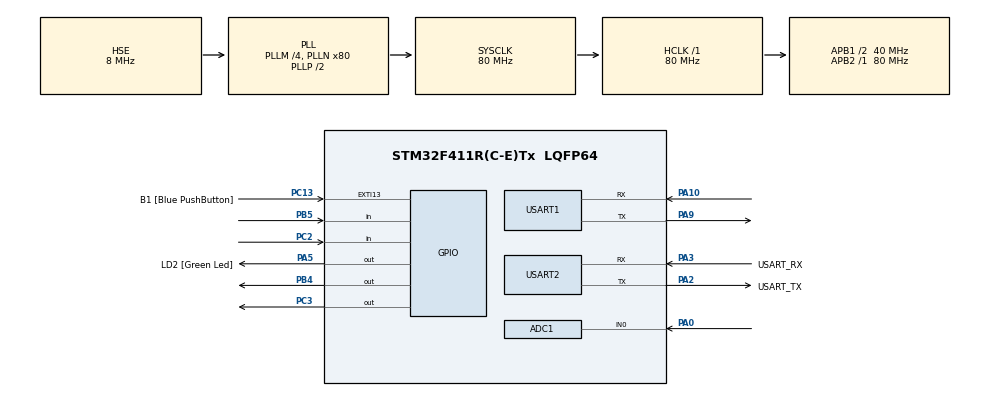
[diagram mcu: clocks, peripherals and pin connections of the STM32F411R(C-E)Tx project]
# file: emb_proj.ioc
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ADC1.Channel-0\#ChannelRegularConversion=ADC_CHANNEL_0
ADC1.NbrOfConversionFlag=1
ADC1.Rank-0\#ChannelRegularConversion=1
ADC1.SamplingTime-0\#ChannelRegularConversion=ADC_SAMPLETIME_3CYCLES
ADC1.master=1
Mcu.Family=STM32F4
Mcu.Name=STM32F411R(C-E)Tx
Mcu.Package=LQFP64
NVIC.PriorityGroup=NVIC_PRIORITYGROUP_2
NVIC.TIM3_IRQn=true\:0\:0\:false\:false\:true\:true\:true\:true
NVIC.TIM4_IRQn=true\:0\:0\:false\:false\:true\:true\:true\:true
NVIC.USART1_IRQn=true\:2\:0\:true\:false\:true\:true\:true\:true
NVIC.USART2_IRQn=true\:2\:0\:true\:false\:true\:true\:true\:true
PA0-WKUP.Signal=ADCx_IN0
PA10.Mode=Asynchronous
PA10.Signal=USART1_RX
PA13.GPIO_Label=TMS
PA13.Mode=Serial_Wire
PA13.Signal=SYS_JTMS-SWDIO
PA14.GPIO_Label=TCK
PA14.Mode=Serial_Wire
PA14.Signal=SYS_JTCK-SWCLK
PA2.GPIO_Label=USART_TX
PA2.Mode=Asynchronous
PA2.Signal=USART2_TX
PA3.GPIO_Label=USART_RX
PA3.Mode=Asynchronous
PA3.Signal=USART2_RX
PA5.GPIO_Label=LD2 [Green Led]
PA5.Signal=GPIO_Output
PA9.Mode=Asynchronous
PA9.Signal=USART1_TX
PB3.GPIO_Label=SWO
PB3.Signal=SYS_JTDO-SWO
PB4.GPIO_ModeDefaultOutputPP=GPIO_MODE_OUTPUT_OD
PB4.GPIO_PuPd=GPIO_NOPULL
PB4.GPIO_Speed=GPIO_SPEED_FREQ_HIGH
PB4.PinState=GPIO_PIN_SET
PB4.Signal=GPIO_Output
PB5.Signal=GPIO_Input
PC13-ANTI_TAMP.GPIO_Label=B1 [Blue PushButton]
PC13-ANTI_TAMP.GPIO_ModeDefaultEXTI=GPIO_MODE_IT_FALLING
PC13-ANTI_TAMP.Signal=GPXTI13
PC14-OSC32_IN.Mode=LSE-External-Oscillator
PC14-OSC32_IN.Signal=RCC_OSC32_IN
PC15-OSC32_OUT.Mode=LSE-External-Oscillator
PC15-OSC32_OUT.Signal=RCC_OSC32_OUT
PC2.Signal=GPIO_Input
PC3.GPIO_Speed=GPIO_SPEED_FREQ_HIGH
PC3.PinState=GPIO_PIN_RESET
PC3.Signal=GPIO_Output
PH0\ -\ OSC_IN.Mode=HSE-External-Clock-Source
PH0\ -\ OSC_IN.Signal=RCC_OSC_IN
PH1\ -\ OSC_OUT.Mode=HSE-External-Clock-Source
PH1\ -\ OSC_OUT.Signal=RCC_OSC_OUT
ProjectManager.HeapSize=0x200
ProjectManager.StackSize=0x400
ProjectManager.TargetToolchain=STM32CubeIDE
RCC.48MHZClocksFreq_Value=40000000
RCC.AHBFreq_Value=80000000
RCC.APB1CLKDivider=RCC_HCLK_DIV2
RCC.APB1Freq_Value=40000000
RCC.APB1TimFreq_Value=80000000
RCC.APB2Freq_Value=80000000
RCC.APB2TimFreq_Value=80000000
RCC.CortexFreq_Value=80000000
RCC.FLatency-AdvancedSettings=FLASH_LATENCY_2
RCC.HCLKFreq_Value=80000000
RCC.HSE_VALUE=8000000
RCC.HSI_VALUE=16000000
RCC.PLLM=4
RCC.PLLN=80
RCC.PLLSourceVirtual=RCC_PLLSOURCE_HSE
RCC.SYSCLKFreq_VALUE=80000000
RCC.SYSCLKSource=RCC_SYSCLKSOURCE_PLLCLK
RCC.VCOOutputFreq_Value=160000000
SH.ADCx_IN0.0=ADC1_IN0,IN0
TIM1.AutoReloadPreload=TIM_AUTORELOAD_PRELOAD_ENABLE
TIM1.Prescaler=80-1
TIM2.AutoReloadPreload=TIM_AUTORELOAD_PRELOAD_ENABLE
TIM2.Prescaler=80-1
TIM3.AutoReloadPreload=TIM_AUTORELOAD_PRELOAD_ENABLE
TIM3.Period=30000-1
TIM3.Prescaler=8000-1
TIM4.AutoReloadPreload=TIM_AUTORELOAD_PRELOAD_ENABLE
TIM4.Period=10000-1
TIM4.Prescaler=8000-1
USART1.VirtualMode=VM_ASYNC
USART2.VirtualMode=VM_ASYNC
VP_TIM1_VS_ClockSourceINT.Mode=Internal
VP_TIM2_VS_ClockSourceINT.Mode=Internal
VP_TIM3_VS_ClockSourceINT.Mode=Internal
VP_TIM4_VS_ClockSourceINT.Mode=Internal
board=NUCLEO-F411RE

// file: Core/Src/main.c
/* USER CODE BEGIN Header */
/**
  ******************************************************************************
  * @file           : main.c
  * @brief          : Main program body
  ******************************************************************************
  * @attention
  *
  * Copyright (c) 2023 STMicroelectronics.
  * All rights reserved.
  *
  * This software is licensed under terms that can be found in the LICENSE file
  * in the root directory of this software component.
  * If no LICENSE file comes with this software, it is provided AS-IS.
  *
  ******************************************************************************
  */
/* USER CODE END Header */
#include "main.h"

ADC_HandleTypeDef hadc1;

TIM_HandleTypeDef htim1;
TIM_HandleTypeDef htim2;
TIM_HandleTypeDef htim3;
TIM_HandleTypeDef htim4;

UART_HandleTypeDef huart1;
UART_HandleTypeDef huart2;

void SystemClock_Config(void);
static void MX_GPIO_Init(void);
static void MX_USART2_UART_Init(void);
static void MX_ADC1_Init(void);
static void MX_TIM2_Init(void);
static void MX_TIM3_Init(void);
static void MX_TIM4_Init(void);
static void MX_USART1_UART_Init(void);
static void MX_TIM1_Init(void);

/* USER CODE BEGIN 0 */
uint8_t distance_cm = 0;
uint8_t distance_cm_fp = 0;
uint8_t temperature = 0;
uint8_t temperature_fp = 0;
uint8_t relative_humidity = 0;
uint8_t relative_humidity_fp = 0;
uint8_t light_intensity_percent = 0;
uint8_t light_intensity_percent_fp = 0;

uint16_t min_light = 100;
uint16_t max_light = 2500;

uint8_t max_depth = 10;

char x[100];
char y = '0';
char comm;

void delay_us (uint32_t us)
{
	//__HAL_TIM_SET_COUNTER(&htim2,0);
	uint32_t start = __HAL_TIM_GET_COUNTER(&htim2);
	while (__HAL_TIM_GET_COUNTER(&htim2) < start+us);
}

void read_ldr(){
	HAL_ADC_Start(&hadc1);
	if(HAL_ADC_PollForConversion(&hadc1,1000) == HAL_OK){
		uint16_t value = HAL_ADC_GetValue(&hadc1);
		if(value < min_light){
			value = min_light;
		}else if(value > max_light){
			value = max_light;
		}
		float temp = ((1.0)*value-min_light)/(max_light-min_light)*100;
		light_intensity_percent = temp;
		light_intensity_percent_fp = ((int)(temp*100))%100;
	}
}

void read_dht11(){
	HAL_GPIO_WritePin(GPIOB, GPIO_PIN_4, 0);
	delay_us(18000);
	HAL_GPIO_WritePin(GPIOB, GPIO_PIN_4, 1);

	delay_us(40);
	if(!(HAL_GPIO_ReadPin(GPIOB, GPIO_PIN_5))){
		delay_us(80);
		if (!(HAL_GPIO_ReadPin(GPIOB, GPIO_PIN_5))) return;
	}
	while((HAL_GPIO_ReadPin(GPIOB, GPIO_PIN_5)));

	uint8_t dht[5];
	for(uint8_t k=0;k<5;k++){
		uint8_t i,j;
		for (j=0;j<8;j++){
			while(!(HAL_GPIO_ReadPin(GPIOB, GPIO_PIN_5)));
			delay_us(40);
			if (!(HAL_GPIO_ReadPin(GPIOB, GPIO_PIN_5))){
				i&= ~(1<<(7-j));
			}else i|= (1<<(7-j));
			while ((HAL_GPIO_ReadPin(GPIOB, GPIO_PIN_5)));
		}
		dht[k] = i;
	}
	temperature = dht[2];
	temperature_fp = dht[3];
	relative_humidity = dht[0];
	relative_humidity_fp = dht[1];
}

void read_distance(){
	HAL_GPIO_WritePin(GPIOC, GPIO_PIN_3, 1);
	delay_us(40);
	HAL_GPIO_WritePin(GPIOC, GPIO_PIN_3, 0);

	while(!(HAL_GPIO_ReadPin(GPIOC, GPIO_PIN_2)));
	__HAL_TIM_SET_COUNTER(&htim1,0);
	while((HAL_GPIO_ReadPin(GPIOC, GPIO_PIN_2)));
	uint16_t echo_time = __HAL_TIM_GET_COUNTER(&htim1);
	float temp = 1.0*echo_time/58;
	if(temp > max_depth){
		temp = max_depth - 0.01;
	}
	temp = max_depth - temp;
	distance_cm = temp;
	distance_cm_fp = ((int)(temp*100))%100;
}

void HAL_TIM_PeriodElapsedCallback(TIM_HandleTypeDef *htim){
	if( htim->Instance == TIM3){
		read_dht11();
		y = 'a';
	}
	if( htim->Instance == TIM4){
		read_distance();
		read_ldr();
		y = 'y';
	}
	//HAL_UART_Transmit(&huart2,&y,1,10);
}

void HAL_UART_RxCpltCallback(UART_HandleTypeDef *huart){
	HAL_GPIO_TogglePin(GPIOA,GPIO_PIN_5);
	uint8_t data[8];
	data[0] = distance_cm;
	data[1] = distance_cm_fp;
	data[2] = temperature;
	data[3] = temperature_fp;
	data[4] = relative_humidity;
	data[5] = relative_humidity_fp;
	data[6] = light_intensity_percent;
	data[7] = light_intensity_percent_fp;
	HAL_UART_Transmit(huart,&data,8,100);
	HAL_UART_Receive_IT(huart,&comm,1);
}
/* USER CODE END 0 */

int main(void)
{

  /* MCU Configuration--------------------------------------------------------*/

  /* Reset of all peripherals, Initializes the Flash interface and the Systick. */
  HAL_Init();

  /* Configure the system clock */
  SystemClock_Config();

  /* Initialize all configured peripherals */
  MX_GPIO_Init();
  MX_USART2_UART_Init();
  MX_ADC1_Init();
  MX_TIM2_Init();
  MX_TIM3_Init();
  MX_TIM4_Init();
  MX_USART1_UART_Init();
  MX_TIM1_Init();
  /* USER CODE BEGIN 2 */
  HAL_TIM_Base_Start(&htim1);
  HAL_TIM_Base_Start(&htim2);
  HAL_TIM_Base_Start_IT(&htim4);
  HAL_TIM_Base_Start_IT(&htim3);
  HAL_UART_Receive_IT(&huart1,&comm,1);
  HAL_UART_Receive_IT(&huart2,&comm,1);
  /* USER CODE END 2 */

  /* Infinite loop */
  while (1)
  {

    /* USER CODE BEGIN 3 */
//	HAL_GPIO_TogglePin(GPIOA,GPIO_PIN_5);
//	delay_us(2000000);
//	sprintf(&x,":%d,%d",temperature,relative_humidity);
//	HAL_UART_Transmit(&huart2,&x,strlen(x),100);
//	sprintf(&x,",%d,%d\r\n",light_intensity_percent,distance_cm);
//	HAL_UART_Transmit(&huart2,&x,strlen(x),100);
  }
  /* USER CODE END 3 */
}

void SystemClock_Config(void)
{
  RCC_OscInitTypeDef RCC_OscInitStruct = {0};
  RCC_ClkInitTypeDef RCC_ClkInitStruct = {0};

  /** Configure the main internal regulator output voltage
  */
  __HAL_RCC_PWR_CLK_ENABLE();
  __HAL_PWR_VOLTAGESCALING_CONFIG(PWR_REGULATOR_VOLTAGE_SCALE1);

  /** Initializes the RCC Oscillators according to the specified parameters
  * in the RCC_OscInitTypeDef structure.
  */
  RCC_OscInitStruct.OscillatorType = RCC_OSCILLATORTYPE_HSE;
  RCC_OscInitStruct.HSEState = RCC_HSE_BYPASS;
  RCC_OscInitStruct.PLL.PLLState = RCC_PLL_ON;
  RCC_OscInitStruct.PLL.PLLSource = RCC_PLLSOURCE_HSE;
  RCC_OscInitStruct.PLL.PLLM = 4;
  RCC_OscInitStruct.PLL.PLLN = 80;
  RCC_OscInitStruct.PLL.PLLP = RCC_PLLP_DIV2;
  RCC_OscInitStruct.PLL.PLLQ = 4;
  if (HAL_RCC_OscConfig(&RCC_OscInitStruct) != HAL_OK)
  {
    Error_Handler();
  }

  /** Initializes the CPU, AHB and APB buses clocks
  */
  RCC_ClkInitStruct.ClockType = RCC_CLOCKTYPE_HCLK|RCC_CLOCKTYPE_SYSCLK
                              |RCC_CLOCKTYPE_PCLK1|RCC_CLOCKTYPE_PCLK2;
  RCC_ClkInitStruct.SYSCLKSource = RCC_SYSCLKSOURCE_PLLCLK;
  RCC_ClkInitStruct.AHBCLKDivider = RCC_SYSCLK_DIV1;
  RCC_ClkInitStruct.APB1CLKDivider = RCC_HCLK_DIV2;
  RCC_ClkInitStruct.APB2CLKDivider = RCC_HCLK_DIV1;

  if (HAL_RCC_ClockConfig(&RCC_ClkInitStruct, FLASH_LATENCY_2) != HAL_OK)
  {
    Error_Handler();
  }
}

static void MX_ADC1_Init(void)
{

  ADC_ChannelConfTypeDef sConfig = {0};

  /** Configure the global features of the ADC (Clock, Resolution, Data Alignment and number of conversion)
  */
  hadc1.Instance = ADC1;
  hadc1.Init.ClockPrescaler = ADC_CLOCK_SYNC_PCLK_DIV4;
  hadc1.Init.Resolution = ADC_RESOLUTION_12B;
  hadc1.Init.ScanConvMode = DISABLE;
  hadc1.Init.ContinuousConvMode = DISABLE;
  hadc1.Init.DiscontinuousConvMode = DISABLE;
  hadc1.Init.ExternalTrigConvEdge = ADC_EXTERNALTRIGCONVEDGE_NONE;
  hadc1.Init.ExternalTrigConv = ADC_SOFTWARE_START;
  hadc1.Init.DataAlign = ADC_DATAALIGN_RIGHT;
  hadc1.Init.NbrOfConversion = 1;
  hadc1.Init.DMAContinuousRequests = DISABLE;
  hadc1.Init.EOCSelection = ADC_EOC_SINGLE_CONV;
  if (HAL_ADC_Init(&hadc1) != HAL_OK)
  {
    Error_Handler();
  }

  /** Configure for the selected ADC regular channel its corresponding rank in the sequencer and its sample time.
  */
  sConfig.Channel = ADC_CHANNEL_0;
  sConfig.Rank = 1;
  sConfig.SamplingTime = ADC_SAMPLETIME_3CYCLES;
  if (HAL_ADC_ConfigChannel(&hadc1, &sConfig) != HAL_OK)
  {
    Error_Handler();
  }

}

static void MX_TIM1_Init(void)
{

  TIM_ClockConfigTypeDef sClockSourceConfig = {0};
  TIM_MasterConfigTypeDef sMasterConfig = {0};

  htim1.Instance = TIM1;
  htim1.Init.Prescaler = 80-1;
  htim1.Init.CounterMode = TIM_COUNTERMODE_UP;
  htim1.Init.Period = 65535;
  htim1.Init.ClockDivision = TIM_CLOCKDIVISION_DIV1;
  htim1.Init.RepetitionCounter = 0;
  htim1.Init.AutoReloadPreload = TIM_AUTORELOAD_PRELOAD_ENABLE;
  if (HAL_TIM_Base_Init(&htim1) != HAL_OK)
  {
    Error_Handler();
  }
  sClockSourceConfig.ClockSource = TIM_CLOCKSOURCE_INTERNAL;
  if (HAL_TIM_ConfigClockSource(&htim1, &sClockSourceConfig) != HAL_OK)
  {
    Error_Handler();
  }
  sMasterConfig.MasterOutputTrigger = TIM_TRGO_RESET;
  sMasterConfig.MasterSlaveMode = TIM_MASTERSLAVEMODE_DISABLE;
  if (HAL_TIMEx_MasterConfigSynchronization(&htim1, &sMasterConfig) != HAL_OK)
  {
    Error_Handler();
  }

}

static void MX_TIM2_Init(void)
{

  TIM_ClockConfigTypeDef sClockSourceConfig = {0};
  TIM_MasterConfigTypeDef sMasterConfig = {0};

  htim2.Instance = TIM2;
  htim2.Init.Prescaler = 80-1;
  htim2.Init.CounterMode = TIM_COUNTERMODE_UP;
  htim2.Init.Period = 4294967295;
  htim2.Init.ClockDivision = TIM_CLOCKDIVISION_DIV1;
  htim2.Init.AutoReloadPreload = TIM_AUTORELOAD_PRELOAD_ENABLE;
  if (HAL_TIM_Base_Init(&htim2) != HAL_OK)
  {
    Error_Handler();
  }
  sClockSourceConfig.ClockSource = TIM_CLOCKSOURCE_INTERNAL;
  if (HAL_TIM_ConfigClockSource(&htim2, &sClockSourceConfig) != HAL_OK)
  {
    Error_Handler();
  }
  sMasterConfig.MasterOutputTrigger = TIM_TRGO_RESET;
  sMasterConfig.MasterSlaveMode = TIM_MASTERSLAVEMODE_DISABLE;
  if (HAL_TIMEx_MasterConfigSynchronization(&htim2, &sMasterConfig) != HAL_OK)
  {
    Error_Handler();
  }

}

static void MX_TIM3_Init(void)
{

  TIM_ClockConfigTypeDef sClockSourceConfig = {0};
  TIM_MasterConfigTypeDef sMasterConfig = {0};

  htim3.Instance = TIM3;
  htim3.Init.Prescaler = 8000-1;
  htim3.Init.CounterMode = TIM_COUNTERMODE_UP;
  htim3.Init.Period = 30000-1;
  htim3.Init.ClockDivision = TIM_CLOCKDIVISION_DIV1;
  htim3.Init.AutoReloadPreload = TIM_AUTORELOAD_PRELOAD_ENABLE;
  if (HAL_TIM_Base_Init(&htim3) != HAL_OK)
  {
    Error_Handler();
  }
  sClockSourceConfig.ClockSource = TIM_CLOCKSOURCE_INTERNAL;
  if (HAL_TIM_ConfigClockSource(&htim3, &sClockSourceConfig) != HAL_OK)
  {
    Error_Handler();
  }
  sMasterConfig.MasterOutputTrigger = TIM_TRGO_RESET;
  sMasterConfig.MasterSlaveMode = TIM_MASTERSLAVEMODE_DISABLE;
  if (HAL_TIMEx_MasterConfigSynchronization(&htim3, &sMasterConfig) != HAL_OK)
  {
    Error_Handler();
  }

}

static void MX_TIM4_Init(void)
{

  TIM_ClockConfigTypeDef sClockSourceConfig = {0};
  TIM_MasterConfigTypeDef sMasterConfig = {0};

  htim4.Instance = TIM4;
  htim4.Init.Prescaler = 8000-1;
  htim4.Init.CounterMode = TIM_COUNTERMODE_UP;
  htim4.Init.Period = 10000-1;
  htim4.Init.ClockDivision = TIM_CLOCKDIVISION_DIV1;
  htim4.Init.AutoReloadPreload = TIM_AUTORELOAD_PRELOAD_ENABLE;
  if (HAL_TIM_Base_Init(&htim4) != HAL_OK)
  {
    Error_Handler();
  }
  sClockSourceConfig.ClockSource = TIM_CLOCKSOURCE_INTERNAL;
  if (HAL_TIM_ConfigClockSource(&htim4, &sClockSourceConfig) != HAL_OK)
  {
    Error_Handler();
  }
  sMasterConfig.MasterOutputTrigger = TIM_TRGO_RESET;
  sMasterConfig.MasterSlaveMode = TIM_MASTERSLAVEMODE_DISABLE;
  if (HAL_TIMEx_MasterConfigSynchronization(&htim4, &sMasterConfig) != HAL_OK)
  {
    Error_Handler();
  }

}

static void MX_USART1_UART_Init(void)
{

  huart1.Instance = USART1;
  huart1.Init.BaudRate = 115200;
  huart1.Init.WordLength = UART_WORDLENGTH_8B;
  huart1.Init.StopBits = UART_STOPBITS_1;
  huart1.Init.Parity = UART_PARITY_NONE;
  huart1.Init.Mode = UART_MODE_TX_RX;
  huart1.Init.HwFlowCtl = UART_HWCONTROL_NONE;
  huart1.Init.OverSampling = UART_OVERSAMPLING_16;
  if (HAL_UART_Init(&huart1) != HAL_OK)
  {
    Error_Handler();
  }

}

static void MX_USART2_UART_Init(void)
{

  huart2.Instance = USART2;
  huart2.Init.BaudRate = 115200;
  huart2.Init.WordLength = UART_WORDLENGTH_8B;
  huart2.Init.StopBits = UART_STOPBITS_1;
  huart2.Init.Parity = UART_PARITY_NONE;
  huart2.Init.Mode = UART_MODE_TX_RX;
  huart2.Init.HwFlowCtl = UART_HWCONTROL_NONE;
  huart2.Init.OverSampling = UART_OVERSAMPLING_16;
  if (HAL_UART_Init(&huart2) != HAL_OK)
  {
    Error_Handler();
  }

}

static void MX_GPIO_Init(void)
{
  GPIO_InitTypeDef GPIO_InitStruct = {0};

  /* GPIO Ports Clock Enable */
  __HAL_RCC_GPIOC_CLK_ENABLE();
  __HAL_RCC_GPIOH_CLK_ENABLE();
  __HAL_RCC_GPIOA_CLK_ENABLE();
  __HAL_RCC_GPIOB_CLK_ENABLE();

  /*Configure GPIO pin Output Level */
  HAL_GPIO_WritePin(GPIOC, GPIO_PIN_3, GPIO_PIN_RESET);

  /*Configure GPIO pin Output Level */
  HAL_GPIO_WritePin(LD2_GPIO_Port, LD2_Pin, GPIO_PIN_RESET);

  /*Configure GPIO pin Output Level */
  HAL_GPIO_WritePin(GPIOB, GPIO_PIN_4, GPIO_PIN_SET);

  /*Configure GPIO pin : B1_Pin */
  GPIO_InitStruct.Pin = B1_Pin;
  GPIO_InitStruct.Mode = GPIO_MODE_IT_FALLING;
  GPIO_InitStruct.Pull = GPIO_NOPULL;
  HAL_GPIO_Init(B1_GPIO_Port, &GPIO_InitStruct);

  /*Configure GPIO pin : PC2 */
  GPIO_InitStruct.Pin = GPIO_PIN_2;
  GPIO_InitStruct.Mode = GPIO_MODE_INPUT;
  GPIO_InitStruct.Pull = GPIO_NOPULL;
  HAL_GPIO_Init(GPIOC, &GPIO_InitStruct);

  /*Configure GPIO pin : PC3 */
  GPIO_InitStruct.Pin = GPIO_PIN_3;
  GPIO_InitStruct.Mode = GPIO_MODE_OUTPUT_PP;
  GPIO_InitStruct.Pull = GPIO_NOPULL;
  GPIO_InitStruct.Speed = GPIO_SPEED_FREQ_HIGH;
  HAL_GPIO_Init(GPIOC, &GPIO_InitStruct);

  /*Configure GPIO pin : LD2_Pin */
  GPIO_InitStruct.Pin = LD2_Pin;
  GPIO_InitStruct.Mode = GPIO_MODE_OUTPUT_PP;
  GPIO_InitStruct.Pull = GPIO_NOPULL;
  GPIO_InitStruct.Speed = GPIO_SPEED_FREQ_LOW;
  HAL_GPIO_Init(LD2_GPIO_Port, &GPIO_InitStruct);

  /*Configure GPIO pin : PB4 */
  GPIO_InitStruct.Pin = GPIO_PIN_4;
  GPIO_InitStruct.Mode = GPIO_MODE_OUTPUT_OD;
  GPIO_InitStruct.Pull = GPIO_NOPULL;
  GPIO_InitStruct.Speed = GPIO_SPEED_FREQ_HIGH;
  HAL_GPIO_Init(GPIOB, &GPIO_InitStruct);

  /*Configure GPIO pin : PB5 */
  GPIO_InitStruct.Pin = GPIO_PIN_5;
  GPIO_InitStruct.Mode = GPIO_MODE_INPUT;
  GPIO_InitStruct.Pull = GPIO_NOPULL;
  HAL_GPIO_Init(GPIOB, &GPIO_InitStruct);

}

void Error_Handler(void)
{
  __disable_irq();
  while (1)
  {
  }
}
